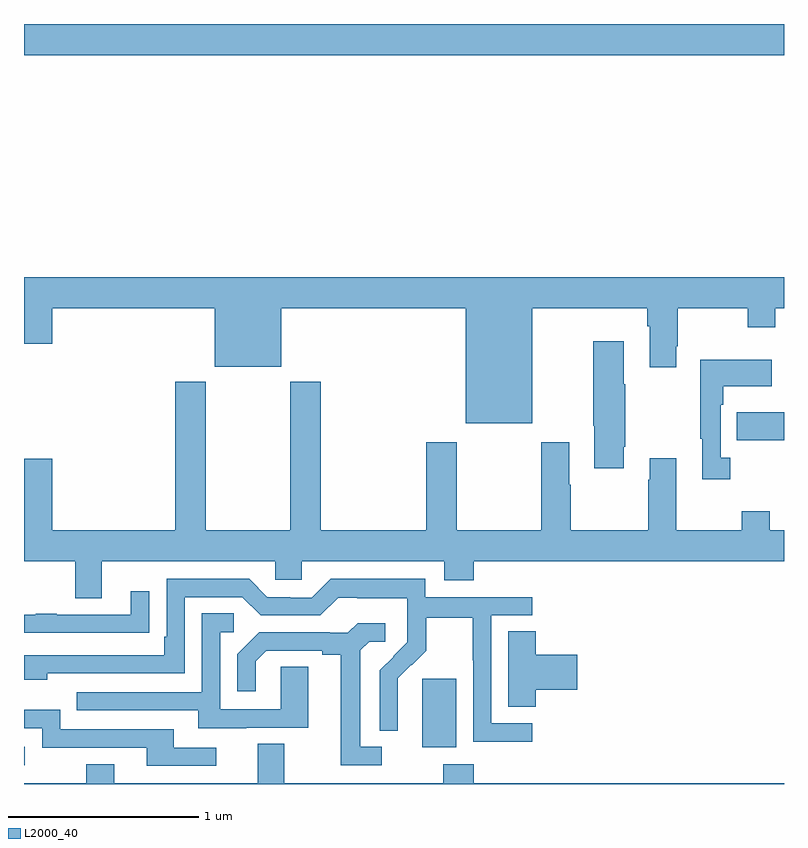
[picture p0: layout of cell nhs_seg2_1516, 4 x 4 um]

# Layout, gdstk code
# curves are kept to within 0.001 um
import gdstk
lib = gdstk.Library(unit=1e-6, precision=1e-09)
def R(c, l, rs):  # rectangles x0, y0, x1, y1
    for r in rs: c.add(gdstk.rectangle(r[:2], r[2:], *l))
def P(c, l, *ps):  # polygons
    for p in ps: c.add(gdstk.Polygon(p, *l))
L2000_40 = (2000, 40)

nhs_seg2_1516 = lib.new_cell('nhs_seg2_1516')
R(nhs_seg2_1516, L2000_40, [(189,643.899,189.004,643.995), (191.096,643.994,191.275,644.355), (192.751,645.61,193,645.757), (189,647.636,193,647.8)])
P(nhs_seg2_1516, L2000_40, [(191.674,646.304),(192.281,646.304),(192.281,646.208),(192.293,646.208),(192.293,645.993),(192.433,645.993),(192.433,646.105),(192.441,646.105),(192.441,646.304),(192.808,646.304),(192.808,646.205),(192.954,646.205),(192.954,646.304),(193,646.304),(193,646.468),(189,646.468),(189,646.116),(189.148,646.116),(189.148,646.304),(190.004,646.304),(190.004,645.995),(190.354,645.995),(190.354,646.304),(191.324,646.304),(191.324,645.698),(191.674,645.698)],
  [(192.157,645.574),(192.165,645.574),(192.165,645.905),(192.157,645.905),(192.157,646.129),(191.995,646.129),(191.995,645.685),(192.002,645.685),(192.002,645.462),(192.157,645.462)],
  [(192.718,645.518),(192.666,645.518),(192.666,645.797),(192.679,645.797),(192.679,645.893),(192.935,645.893),(192.935,646.033),(192.558,646.033),(192.558,645.617),(192.569,645.617),(192.569,645.405),(192.718,645.405)],
  [(193,645.136),(192.925,645.136),(192.925,645.235),(192.778,645.235),(192.778,645.136),(192.433,645.136),(192.433,645.514),(192.293,645.514),(192.293,645.401),(192.286,645.401),(192.286,645.136),(191.877,645.136),(191.877,645.374),(191.869,645.374),(191.869,645.598),(191.722,645.598),(191.722,645.136),(191.277,645.136),(191.277,645.598),(191.117,645.598),(191.117,645.136),(190.562,645.136),(190.562,645.916),(190.402,645.916),(190.402,645.136),(189.957,645.136),(189.957,645.916),(189.797,645.916),(189.797,645.136),(189.148,645.136),(189.148,645.511),(189,645.511),(189,644.972),(189.269,644.972),(189.269,644.778),(189.409,644.778),(189.409,644.972),(190.323,644.972),(190.323,644.874),(190.461,644.874),(190.461,644.972),(191.213,644.972),(191.213,644.873),(191.366,644.873),(191.366,644.972),(193,644.972)],
  [(191.674,644.121),(191.46,644.121),(191.46,644.688),(191.674,644.688),(191.674,644.784),(191.112,644.784),(191.112,644.881),(190.615,644.881),(190.515,644.781),(190.4,644.781),(190.4,644.784),(190.281,644.784),(190.185,644.88),(189.75,644.88),(189.75,644.575),(189.737,644.575),(189.737,644.478),(189,644.478),(189,644.348),(189.122,644.348),(189.122,644.382),(189.846,644.382),(189.846,644.784),(190.149,644.784),(190.245,644.688),(190.56,644.688),(190.653,644.781),(190.753,644.781),(190.753,644.777),(191.016,644.777),(191.016,644.643),(191.018,644.643),(191.018,644.546),(190.872,644.398),(190.872,644.08),(190.968,644.08),(190.967,644.357),(191.037,644.427),(191.04,644.424),(191.117,644.501),(191.117,644.676),(191.362,644.676),(191.362,644.452),(191.364,644.452),(191.364,644.023),(191.674,644.023)],
  [(189.557,644.596),(189.659,644.596),(189.659,644.815),(189.563,644.815),(189.563,644.691),(189.173,644.691),(189.173,644.696),(189.061,644.696),(189.061,644.691),(189,644.691),(189,644.595),(189.557,644.595)],
  [(190.171,644.097),(190.495,644.097),(190.495,644.417),(190.35,644.417),(190.35,644.193),(190.032,644.193),(190.032,644.598),(190.105,644.598),(190.105,644.699),(189.936,644.699),(189.936,644.283),(189.277,644.283),(189.277,644.187),(189.917,644.187),(189.917,644.093),(190.171,644.093)],
  [(190.882,643.995),(190.771,643.995),(190.771,644.503),(190.818,644.55),(190.9,644.55),(190.9,644.647),(190.756,644.647),(190.704,644.595),(190.61,644.595),(190.61,644.598),(190.238,644.598),(190.122,644.482),(190.122,644.289),(190.219,644.289),(190.219,644.445),(190.276,644.502),(190.571,644.502),(190.571,644.48),(190.667,644.48),(190.667,643.899),(190.882,643.899)],
  [(191.693,644.297),(191.911,644.297),(191.911,644.48),(191.693,644.48),(191.693,644.603),(191.549,644.603),(191.549,644.206),(191.693,644.206)],
  [(190.012,643.992),(189.787,643.992),(189.787,644.088),(189.192,644.088),(189.192,644.191),(189,644.191),(189,644.094),(189.096,644.094),(189.096,643.992),(189.647,643.992),(189.647,643.896),(190.012,643.896)],
  [(193,643.804),(191.366,643.804),(191.366,643.903),(191.206,643.903),(191.206,643.804),(190.369,643.804),(190.369,644.012),(190.229,644.012),(190.229,643.804),(189.475,643.804),(189.475,643.903),(189.328,643.903),(189.328,643.804),(189,643.804),(189,643.8),(193,643.8)])

lib.write_gds('nhs_seg2_1516.gds')
